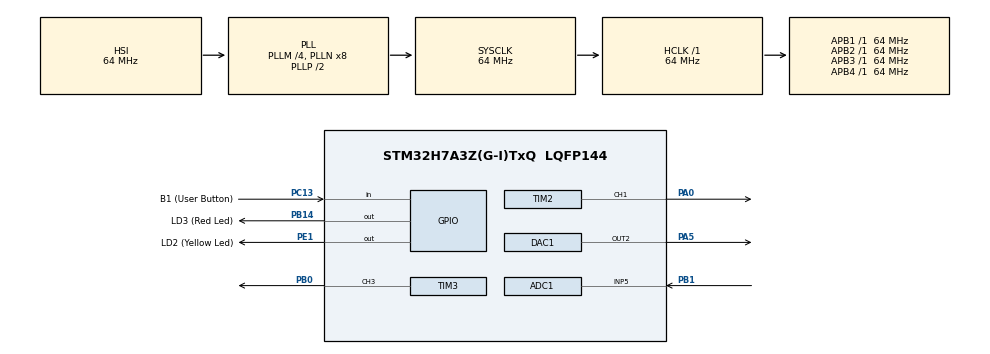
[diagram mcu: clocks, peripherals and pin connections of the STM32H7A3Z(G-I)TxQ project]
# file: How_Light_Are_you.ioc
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ADC1.Channel-1\#ChannelRegularConversion=ADC_CHANNEL_5
ADC1.ClockPrescaler=ADC_CLOCK_ASYNC_DIV256
ADC1.ContinuousConvMode=ENABLE
ADC1.ConversionDataManagement=ADC_CONVERSIONDATA_DMA_CIRCULAR
ADC1.NbrOfConversionFlag=1
ADC1.OffsetNumber-1\#ChannelRegularConversion=ADC_OFFSET_NONE
ADC1.OffsetSignedSaturation-1\#ChannelRegularConversion=DISABLE
ADC1.Rank-1\#ChannelRegularConversion=1
ADC1.Resolution=ADC_RESOLUTION_12B
ADC1.SamplingTime-1\#ChannelRegularConversion=ADC_SAMPLETIME_1CYCLE_5
ADC1.master=1
CORTEX_M7.default_mode_Activation=1
DAC1.DAC_Channel-DAC_OUT2=DAC_CHANNEL_2
Dma.ADC1.0.Direction=DMA_PERIPH_TO_MEMORY
Dma.ADC1.0.EventEnable=DISABLE
Dma.ADC1.0.FIFOMode=DMA_FIFOMODE_DISABLE
Dma.ADC1.0.Instance=DMA1_Stream1
Dma.ADC1.0.MemDataAlignment=DMA_MDATAALIGN_HALFWORD
Dma.ADC1.0.MemInc=DMA_MINC_ENABLE
Dma.ADC1.0.Mode=DMA_CIRCULAR
Dma.ADC1.0.PeriphDataAlignment=DMA_PDATAALIGN_HALFWORD
Dma.ADC1.0.PeriphInc=DMA_PINC_DISABLE
Dma.ADC1.0.Polarity=HAL_DMAMUX_REQ_GEN_RISING
Dma.ADC1.0.Priority=DMA_PRIORITY_HIGH
Dma.ADC1.0.RequestNumber=1
Dma.ADC1.0.SignalID=NONE
Dma.ADC1.0.SyncEnable=DISABLE
Dma.ADC1.0.SyncPolarity=HAL_DMAMUX_SYNC_NO_EVENT
Dma.ADC1.0.SyncRequestNumber=1
Dma.ADC1.0.SyncSignalID=NONE
Dma.Request0=ADC1
Dma.Request1=TIM2_CH1
Dma.TIM2_CH1.1.Direction=DMA_PERIPH_TO_MEMORY
Dma.TIM2_CH1.1.EventEnable=DISABLE
Dma.TIM2_CH1.1.FIFOMode=DMA_FIFOMODE_DISABLE
Dma.TIM2_CH1.1.Instance=DMA1_Stream0
Dma.TIM2_CH1.1.MemDataAlignment=DMA_MDATAALIGN_WORD
Dma.TIM2_CH1.1.MemInc=DMA_MINC_ENABLE
Dma.TIM2_CH1.1.Mode=DMA_CIRCULAR
Dma.TIM2_CH1.1.PeriphDataAlignment=DMA_PDATAALIGN_WORD
Dma.TIM2_CH1.1.PeriphInc=DMA_PINC_DISABLE
Dma.TIM2_CH1.1.Polarity=HAL_DMAMUX_REQ_GEN_RISING
Dma.TIM2_CH1.1.Priority=DMA_PRIORITY_LOW
Dma.TIM2_CH1.1.RequestNumber=1
Dma.TIM2_CH1.1.SignalID=NONE
Dma.TIM2_CH1.1.SyncEnable=DISABLE
Dma.TIM2_CH1.1.SyncPolarity=HAL_DMAMUX_SYNC_NO_EVENT
Dma.TIM2_CH1.1.SyncRequestNumber=1
Dma.TIM2_CH1.1.SyncSignalID=NONE
Mcu.Family=STM32H7
Mcu.Name=STM32H7A3Z(G-I)TxQ
Mcu.Package=LQFP144
NVIC.DMA1_Stream0_IRQn=true\:0\:0\:false\:false\:true\:false\:true\:true
NVIC.DMA1_Stream1_IRQn=true\:0\:0\:false\:false\:true\:false\:true\:true
NVIC.PriorityGroup=NVIC_PRIORITYGROUP_4
PA0.Signal=S_TIM2_CH1_ETR
PA5.Signal=COMP_DAC12_group
PB0.Signal=S_TIM3_CH3
PB1.Signal=ADCx_INP5
PB14.GPIO_Label=LD3 (Red Led)
PB14.Signal=GPIO_Output
PC13.GPIO_Label=B1 (User Button)
PC13.Signal=GPIO_Input
PC14-OSC32_IN.GPIO_Label=OSC32_IN
PC14-OSC32_IN.Signal=RCC_OSC32_IN
PC15-OSC32_OUT.GPIO_Label=OSC32_OUT
PC15-OSC32_OUT.Signal=RCC_OSC32_OUT
PD8.GPIO_Label=STLINK_RX
PD8.Signal=USART3_TX
PD9.GPIO_Label=STLINK_TX
PD9.Signal=USART3_RX
PE1.GPIO_Label=LD2 (Yellow Led)
PE1.Signal=GPIO_Output
PH0-OSC_IN.GPIO_Label=PH0-MCU
PH0-OSC_IN.Signal=RCC_OSC_IN
PH1-OSC_OUT.GPIO_Label=PH1-MCU
PH1-OSC_OUT.Signal=RCC_OSC_OUT
ProjectManager.HeapSize=0x200
ProjectManager.StackSize=0x400
ProjectManager.TargetToolchain=STM32CubeIDE
RCC.ADCFreq_Value=42666666.666666664
RCC.APB1Freq_Value=64000000
RCC.APB2Freq_Value=64000000
RCC.APB3Freq_Value=64000000
RCC.APB4Freq_Value=64000000
RCC.CortexFreq_Value=64000000
RCC.DIVM1=4
RCC.DIVM2=4
RCC.DIVM3=1
RCC.DIVN1=8
RCC.DIVN2=8
RCC.DIVN3=24
RCC.DIVP2=3
RCC.DIVQ1=4
RCC.HCLKFreq_Value=64000000
RCC.HSE_VALUE=8000000
RCC.PLL2FRACN=0
RCC.PLLFRACN=0
RCC.PWR_Regulator_Voltage_Scale=PWR_REGULATOR_VOLTAGE_SCALE0
RCC.SYSCLKFreq_VALUE=64000000
RCC.SYSCLKSource=RCC_SYSCLKSOURCE_PLLCLK
RCC.SupplySource=PWR_DIRECT_SMPS_SUPPLY
RCC.USBCLockSelection=RCC_USBCLKSOURCE_HSI48
RCC.USBFreq_Value=48000000
SH.ADCx_INP5.0=ADC1_INP5,IN5-Single-Ended
SH.COMP_DAC12_group.0=DAC1_OUT2,DAC_OUT2
SH.S_TIM2_CH1_ETR.0=TIM2_CH1,PWM Generation1 CH1
SH.S_TIM3_CH3.0=TIM3_CH3,PWM Generation3 CH3
TIM2.Channel-PWM\ Generation1\ CH1=TIM_CHANNEL_1
TIM2.Period=\   12799
TIM2.Prescaler=99
TIM3.Channel-PWM\ Generation3\ CH3=TIM_CHANNEL_3
TIM3.Period=999
TIM3.Prescaler=99
VP_MEMORYMAP_VS_MEMORYMAP.Mode=CurAppReg
board=NUCLEO-H7A3ZI-Q

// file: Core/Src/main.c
/* USER CODE BEGIN Header */
/**
  ******************************************************************************
  * @file           : main.c
  * @brief          : Main program body
  ******************************************************************************
  * @attention
  *
  * Copyright (c) 2026 STMicroelectronics.
  * All rights reserved.
  *
  * This software is licensed under terms that can be found in the LICENSE file
  * in the root directory of this software component.
  * If no LICENSE file comes with this software, it is provided AS-IS.
  *
  ******************************************************************************
  */
/* USER CODE END Header */
#include "main.h"

ADC_HandleTypeDef hadc1;
DMA_HandleTypeDef hdma_adc1;

DAC_HandleTypeDef hdac1;

TIM_HandleTypeDef htim2;
TIM_HandleTypeDef htim3;
DMA_HandleTypeDef hdma_tim2_ch1;

/* USER CODE BEGIN PV */
#define V_REF 5
#define RESOLUTION 4096
uint32_t ADC_VALUE;
uint32_t DAC_VALUE;
uint16_t pwm_duty;
uint16_t pwm_motor;
double light;
double lowest = 2.5;
double highest = 2.5;
double average;
double added_values;
double new_value;
int number_of_readings = 0;
/* USER CODE END PV */

void SystemClock_Config(void);
static void MPU_Config(void);
static void MX_GPIO_Init(void);
static void MX_DMA_Init(void);
static void MX_ADC1_Init(void);
static void MX_TIM3_Init(void);
static void MX_DAC1_Init(void);
static void MX_TIM2_Init(void);
/* USER CODE BEGIN PFP */
void light_sensor(void);
void Motor(void);
/* USER CODE END PFP */

int main(void)
{

  /* MPU Configuration--------------------------------------------------------*/
  MPU_Config();

  /* MCU Configuration--------------------------------------------------------*/

  /* Reset of all peripherals, Initializes the Flash interface and the Systick. */
  HAL_Init();

  /* Configure the system clock */
  SystemClock_Config();

  /* Initialize all configured peripherals */
  MX_GPIO_Init();
  MX_DMA_Init();
  MX_ADC1_Init();
  MX_TIM3_Init();
  MX_DAC1_Init();
  MX_TIM2_Init();
  /* USER CODE BEGIN 2 */

  HAL_DAC_Start(&hdac1,DAC_CHANNEL_2);
  HAL_ADCEx_Calibration_Start(&hadc1, ADC_CALIB_OFFSET_LINEARITY, ADC_SINGLE_ENDED);
  HAL_ADC_Start_DMA(&hadc1,(uint32_t*)&ADC_VALUE,1);

  HAL_TIM_PWM_Start(&htim3, TIM_CHANNEL_3);
  HAL_TIM_PWM_Start(&htim2, TIM_CHANNEL_1);
  /* USER CODE END 2 */

  /* Infinite loop */
  /* USER CODE BEGIN WHILE */
  while (1)
  {
	  light_sensor();
	  Motor();

    /* USER CODE END WHILE */

  }
}

void SystemClock_Config(void)
{
  RCC_OscInitTypeDef RCC_OscInitStruct = {0};
  RCC_ClkInitTypeDef RCC_ClkInitStruct = {0};

  /*AXI clock gating */
  RCC->CKGAENR = 0xE003FFFF;

  /** Supply configuration update enable
  */
  HAL_PWREx_ConfigSupply(PWR_DIRECT_SMPS_SUPPLY);

  /** Configure the main internal regulator output voltage
  */
  __HAL_PWR_VOLTAGESCALING_CONFIG(PWR_REGULATOR_VOLTAGE_SCALE0);

  while(!__HAL_PWR_GET_FLAG(PWR_FLAG_VOSRDY)) {}

  /** Initializes the RCC Oscillators according to the specified parameters
  * in the RCC_OscInitTypeDef structure.
  */
  RCC_OscInitStruct.OscillatorType = RCC_OSCILLATORTYPE_HSI|RCC_OSCILLATORTYPE_LSI;
  RCC_OscInitStruct.HSIState = RCC_HSI_DIV1;
  RCC_OscInitStruct.HSICalibrationValue = 64;
  RCC_OscInitStruct.LSIState = RCC_LSI_ON;
  RCC_OscInitStruct.PLL.PLLState = RCC_PLL_ON;
  RCC_OscInitStruct.PLL.PLLSource = RCC_PLLSOURCE_HSI;
  RCC_OscInitStruct.PLL.PLLM = 4;
  RCC_OscInitStruct.PLL.PLLN = 8;
  RCC_OscInitStruct.PLL.PLLP = 2;
  RCC_OscInitStruct.PLL.PLLQ = 4;
  RCC_OscInitStruct.PLL.PLLR = 2;
  RCC_OscInitStruct.PLL.PLLRGE = RCC_PLL1VCIRANGE_3;
  RCC_OscInitStruct.PLL.PLLVCOSEL = RCC_PLL1VCOWIDE;
  RCC_OscInitStruct.PLL.PLLFRACN = 0;
  if (HAL_RCC_OscConfig(&RCC_OscInitStruct) != HAL_OK)
  {
    Error_Handler();
  }

  /** Initializes the CPU, AHB and APB buses clocks
  */
  RCC_ClkInitStruct.ClockType = RCC_CLOCKTYPE_HCLK|RCC_CLOCKTYPE_SYSCLK
                              |RCC_CLOCKTYPE_PCLK1|RCC_CLOCKTYPE_PCLK2
                              |RCC_CLOCKTYPE_D3PCLK1|RCC_CLOCKTYPE_D1PCLK1;
  RCC_ClkInitStruct.SYSCLKSource = RCC_SYSCLKSOURCE_PLLCLK;
  RCC_ClkInitStruct.SYSCLKDivider = RCC_SYSCLK_DIV1;
  RCC_ClkInitStruct.AHBCLKDivider = RCC_HCLK_DIV1;
  RCC_ClkInitStruct.APB3CLKDivider = RCC_APB3_DIV1;
  RCC_ClkInitStruct.APB1CLKDivider = RCC_APB1_DIV1;
  RCC_ClkInitStruct.APB2CLKDivider = RCC_APB2_DIV1;
  RCC_ClkInitStruct.APB4CLKDivider = RCC_APB4_DIV1;

  if (HAL_RCC_ClockConfig(&RCC_ClkInitStruct, FLASH_LATENCY_1) != HAL_OK)
  {
    Error_Handler();
  }
}

static void MX_ADC1_Init(void)
{

  ADC_MultiModeTypeDef multimode = {0};
  ADC_ChannelConfTypeDef sConfig = {0};

  /** Common config
  */
  hadc1.Instance = ADC1;
  hadc1.Init.ClockPrescaler = ADC_CLOCK_ASYNC_DIV256;
  hadc1.Init.Resolution = ADC_RESOLUTION_12B;
  hadc1.Init.ScanConvMode = ADC_SCAN_DISABLE;
  hadc1.Init.EOCSelection = ADC_EOC_SINGLE_CONV;
  hadc1.Init.LowPowerAutoWait = DISABLE;
  hadc1.Init.ContinuousConvMode = ENABLE;
  hadc1.Init.NbrOfConversion = 1;
  hadc1.Init.DiscontinuousConvMode = DISABLE;
  hadc1.Init.ExternalTrigConv = ADC_SOFTWARE_START;
  hadc1.Init.ExternalTrigConvEdge = ADC_EXTERNALTRIGCONVEDGE_NONE;
  hadc1.Init.ConversionDataManagement = ADC_CONVERSIONDATA_DMA_CIRCULAR;
  hadc1.Init.Overrun = ADC_OVR_DATA_PRESERVED;
  hadc1.Init.LeftBitShift = ADC_LEFTBITSHIFT_NONE;
  hadc1.Init.OversamplingMode = DISABLE;
  if (HAL_ADC_Init(&hadc1) != HAL_OK)
  {
    Error_Handler();
  }

  /** Configure the ADC multi-mode
  */
  multimode.Mode = ADC_MODE_INDEPENDENT;
  if (HAL_ADCEx_MultiModeConfigChannel(&hadc1, &multimode) != HAL_OK)
  {
    Error_Handler();
  }

  /** Configure Regular Channel
  */
  sConfig.Channel = ADC_CHANNEL_5;
  sConfig.Rank = ADC_REGULAR_RANK_1;
  sConfig.SamplingTime = ADC_SAMPLETIME_1CYCLE_5;
  sConfig.SingleDiff = ADC_SINGLE_ENDED;
  sConfig.OffsetNumber = ADC_OFFSET_NONE;
  sConfig.Offset = 0;
  sConfig.OffsetSignedSaturation = DISABLE;
  if (HAL_ADC_ConfigChannel(&hadc1, &sConfig) != HAL_OK)
  {
    Error_Handler();
  }

}

static void MX_DAC1_Init(void)
{

  DAC_ChannelConfTypeDef sConfig = {0};

  /** DAC Initialization
  */
  hdac1.Instance = DAC1;
  if (HAL_DAC_Init(&hdac1) != HAL_OK)
  {
    Error_Handler();
  }

  /** DAC channel OUT2 config
  */
  sConfig.DAC_SampleAndHold = DAC_SAMPLEANDHOLD_DISABLE;
  sConfig.DAC_Trigger = DAC_TRIGGER_NONE;
  sConfig.DAC_OutputBuffer = DAC_OUTPUTBUFFER_ENABLE;
  sConfig.DAC_ConnectOnChipPeripheral = DAC_CHIPCONNECT_DISABLE;
  sConfig.DAC_UserTrimming = DAC_TRIMMING_FACTORY;
  if (HAL_DAC_ConfigChannel(&hdac1, &sConfig, DAC_CHANNEL_2) != HAL_OK)
  {
    Error_Handler();
  }

}

static void MX_TIM2_Init(void)
{

  TIM_MasterConfigTypeDef sMasterConfig = {0};
  TIM_OC_InitTypeDef sConfigOC = {0};

  htim2.Instance = TIM2;
  htim2.Init.Prescaler = 99;
  htim2.Init.CounterMode = TIM_COUNTERMODE_UP;
  htim2.Init.Period = 12799;
  htim2.Init.ClockDivision = TIM_CLOCKDIVISION_DIV1;
  htim2.Init.AutoReloadPreload = TIM_AUTORELOAD_PRELOAD_DISABLE;
  if (HAL_TIM_PWM_Init(&htim2) != HAL_OK)
  {
    Error_Handler();
  }
  sMasterConfig.MasterOutputTrigger = TIM_TRGO_RESET;
  sMasterConfig.MasterSlaveMode = TIM_MASTERSLAVEMODE_DISABLE;
  if (HAL_TIMEx_MasterConfigSynchronization(&htim2, &sMasterConfig) != HAL_OK)
  {
    Error_Handler();
  }
  sConfigOC.OCMode = TIM_OCMODE_PWM1;
  sConfigOC.Pulse = 0;
  sConfigOC.OCPolarity = TIM_OCPOLARITY_HIGH;
  sConfigOC.OCFastMode = TIM_OCFAST_DISABLE;
  if (HAL_TIM_PWM_ConfigChannel(&htim2, &sConfigOC, TIM_CHANNEL_1) != HAL_OK)
  {
    Error_Handler();
  }
  HAL_TIM_MspPostInit(&htim2);

}

static void MX_TIM3_Init(void)
{

  TIM_MasterConfigTypeDef sMasterConfig = {0};
  TIM_OC_InitTypeDef sConfigOC = {0};

  htim3.Instance = TIM3;
  htim3.Init.Prescaler = 99;
  htim3.Init.CounterMode = TIM_COUNTERMODE_UP;
  htim3.Init.Period = 999;
  htim3.Init.ClockDivision = TIM_CLOCKDIVISION_DIV1;
  htim3.Init.AutoReloadPreload = TIM_AUTORELOAD_PRELOAD_DISABLE;
  if (HAL_TIM_PWM_Init(&htim3) != HAL_OK)
  {
    Error_Handler();
  }
  sMasterConfig.MasterOutputTrigger = TIM_TRGO_RESET;
  sMasterConfig.MasterSlaveMode = TIM_MASTERSLAVEMODE_DISABLE;
  if (HAL_TIMEx_MasterConfigSynchronization(&htim3, &sMasterConfig) != HAL_OK)
  {
    Error_Handler();
  }
  sConfigOC.OCMode = TIM_OCMODE_PWM1;
  sConfigOC.Pulse = 0;
  sConfigOC.OCPolarity = TIM_OCPOLARITY_HIGH;
  sConfigOC.OCFastMode = TIM_OCFAST_DISABLE;
  if (HAL_TIM_PWM_ConfigChannel(&htim3, &sConfigOC, TIM_CHANNEL_3) != HAL_OK)
  {
    Error_Handler();
  }
  HAL_TIM_MspPostInit(&htim3);

}

static void MX_DMA_Init(void)
{

  /* DMA controller clock enable */
  __HAL_RCC_DMA1_CLK_ENABLE();

  /* DMA interrupt init */
  /* DMA1_Stream0_IRQn interrupt configuration */
  HAL_NVIC_SetPriority(DMA1_Stream0_IRQn, 0, 0);
  HAL_NVIC_EnableIRQ(DMA1_Stream0_IRQn);
  /* DMA1_Stream1_IRQn interrupt configuration */
  HAL_NVIC_SetPriority(DMA1_Stream1_IRQn, 0, 0);
  HAL_NVIC_EnableIRQ(DMA1_Stream1_IRQn);

}

static void MX_GPIO_Init(void)
{
  GPIO_InitTypeDef GPIO_InitStruct = {0};

  /* GPIO Ports Clock Enable */
  __HAL_RCC_GPIOC_CLK_ENABLE();
  __HAL_RCC_GPIOH_CLK_ENABLE();
  __HAL_RCC_GPIOA_CLK_ENABLE();
  __HAL_RCC_GPIOB_CLK_ENABLE();
  __HAL_RCC_GPIOD_CLK_ENABLE();
  __HAL_RCC_GPIOE_CLK_ENABLE();

  /*Configure GPIO pin Output Level */
  HAL_GPIO_WritePin(LD3_GPIO_Port, LD3_Pin, GPIO_PIN_RESET);

  /*Configure GPIO pin Output Level */
  HAL_GPIO_WritePin(LD2_GPIO_Port, LD2_Pin, GPIO_PIN_RESET);

  /*Configure GPIO pin : B1_Pin */
  GPIO_InitStruct.Pin = B1_Pin;
  GPIO_InitStruct.Mode = GPIO_MODE_INPUT;
  GPIO_InitStruct.Pull = GPIO_NOPULL;
  HAL_GPIO_Init(B1_GPIO_Port, &GPIO_InitStruct);

  /*Configure GPIO pin : LD3_Pin */
  GPIO_InitStruct.Pin = LD3_Pin;
  GPIO_InitStruct.Mode = GPIO_MODE_OUTPUT_PP;
  GPIO_InitStruct.Pull = GPIO_NOPULL;
  GPIO_InitStruct.Speed = GPIO_SPEED_FREQ_LOW;
  HAL_GPIO_Init(LD3_GPIO_Port, &GPIO_InitStruct);

  /*Configure GPIO pins : STLINK_RX_Pin STLINK_TX_Pin */
  GPIO_InitStruct.Pin = STLINK_RX_Pin|STLINK_TX_Pin;
  GPIO_InitStruct.Mode = GPIO_MODE_AF_PP;
  GPIO_InitStruct.Pull = GPIO_NOPULL;
  GPIO_InitStruct.Speed = GPIO_SPEED_FREQ_LOW;
  GPIO_InitStruct.Alternate = GPIO_AF7_USART3;
  HAL_GPIO_Init(GPIOD, &GPIO_InitStruct);

  /*Configure GPIO pin : LD2_Pin */
  GPIO_InitStruct.Pin = LD2_Pin;
  GPIO_InitStruct.Mode = GPIO_MODE_OUTPUT_PP;
  GPIO_InitStruct.Pull = GPIO_NOPULL;
  GPIO_InitStruct.Speed = GPIO_SPEED_FREQ_LOW;
  HAL_GPIO_Init(LD2_GPIO_Port, &GPIO_InitStruct);

}

/* USER CODE BEGIN 4 */

/**
  * @brief Light Sensor Function
  * @retval None
  */

void light_sensor(void)
{

	HAL_DAC_SetValue(&hdac1, DAC_CHANNEL_2, DAC_ALIGN_12B_R, DAC_VALUE);
	DAC_VALUE++;
	  if(DAC_VALUE>4095) {
	    DAC_VALUE=0;
	  }

	HAL_Delay(50);
}

void Motor(void)
{
	if  (pwm_duty >900)
	{
		pwm_motor = 1500;
	}
	else if(pwm_duty > 500 && pwm_duty < 850)
	{
		pwm_motor = 1250;
	}
	else if (pwm_duty < 500)
	{
		pwm_motor = 1000;
	}
}

void HAL_ADC_ConvCpltCallback(ADC_HandleTypeDef* hadc)
{
	pwm_duty = 999 - ((ADC_VALUE * 999) / 4095);

	__HAL_TIM_SET_COMPARE(&htim3, TIM_CHANNEL_3, pwm_duty);
	__HAL_TIM_SET_COMPARE(&htim2, TIM_CHANNEL_1, pwm_motor);
}

/* USER CODE END 4 */

 /* MPU Configuration */

void MPU_Config(void)
{
  MPU_Region_InitTypeDef MPU_InitStruct = {0};

  /* Disables the MPU */
  HAL_MPU_Disable();

  /** Initializes and configures the Region and the memory to be protected
  */
  MPU_InitStruct.Enable = MPU_REGION_ENABLE;
  MPU_InitStruct.Number = MPU_REGION_NUMBER0;
  MPU_InitStruct.BaseAddress = 0x0;
  MPU_InitStruct.Size = MPU_REGION_SIZE_4GB;
  MPU_InitStruct.SubRegionDisable = 0x87;
  MPU_InitStruct.TypeExtField = MPU_TEX_LEVEL0;
  MPU_InitStruct.AccessPermission = MPU_REGION_NO_ACCESS;
  MPU_InitStruct.DisableExec = MPU_INSTRUCTION_ACCESS_DISABLE;
  MPU_InitStruct.IsShareable = MPU_ACCESS_SHAREABLE;
  MPU_InitStruct.IsCacheable = MPU_ACCESS_NOT_CACHEABLE;
  MPU_InitStruct.IsBufferable = MPU_ACCESS_NOT_BUFFERABLE;

  HAL_MPU_ConfigRegion(&MPU_InitStruct);
  /* Enables the MPU */
  HAL_MPU_Enable(MPU_PRIVILEGED_DEFAULT);

}

void Error_Handler(void)
{
  __disable_irq();
  while (1)
  {
  }
}
